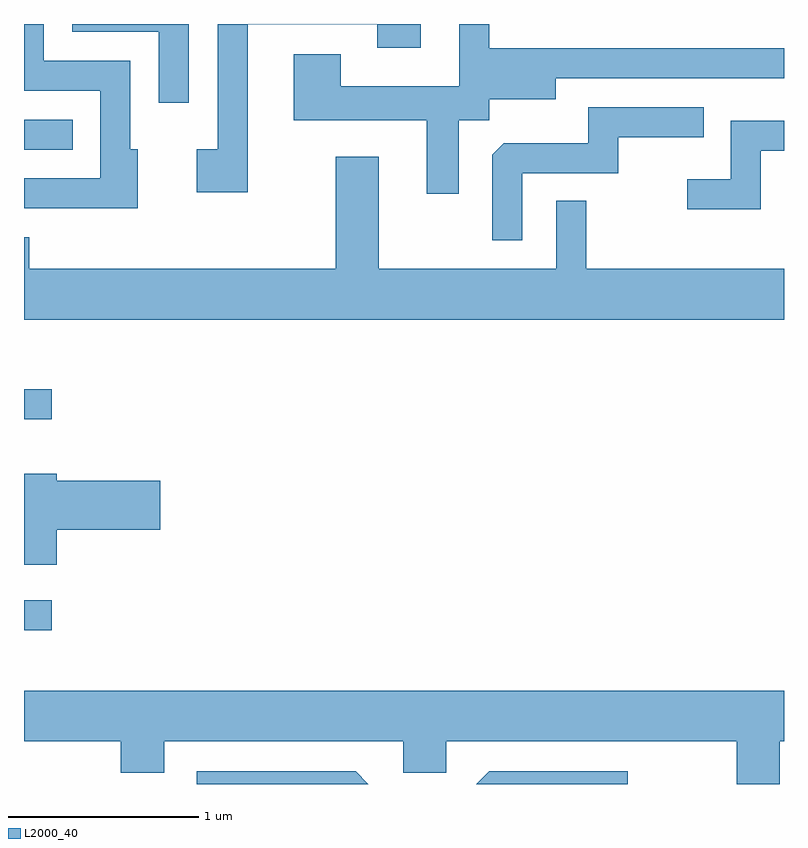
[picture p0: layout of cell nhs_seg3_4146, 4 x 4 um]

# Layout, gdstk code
import gdstk
lib = gdstk.Library(unit=1e-6, precision=1e-09)
def R(c, l, rs):  # rectangles x0, y0, x1, y1
    for r in rs: c.add(gdstk.rectangle(r[:2], r[2:], *l))
def P(c, l, *ps):  # polygons
    for p in ps: c.add(gdstk.Polygon(p, *l))
L2000_40 = (2000, 40)

nhs_seg3_4146 = lib.new_cell('nhs_seg3_4146')
R(nhs_seg3_4146, L2000_40, [(305.611,1248.701,305.758,1248.859), (305.611,1249.811,305.758,1249.969), (305.611,1251.231,305.868,1251.389)])
P(nhs_seg3_4146, L2000_40, [(306.789,1251.891),(307.471,1251.891),(307.471,1251.766),(307.699,1251.766),(307.699,1251.892),(306.631,1251.892),(306.631,1251.234),(306.521,1251.234),(306.521,1251.006),(306.789,1251.006)],
  [(306.479,1251.892),(305.866,1251.892),(305.866,1251.851),(306.321,1251.851),(306.321,1251.478),(306.479,1251.478)],
  [(306.209,1251.234),(306.169,1251.234),(306.169,1251.699),(305.714,1251.699),(305.714,1251.892),(305.611,1251.892),(305.611,1251.541),(306.011,1251.541),(306.011,1251.079),(305.611,1251.079),(305.611,1250.921),(306.209,1250.921)],
  [(307.899,1251.386),(308.059,1251.386),(308.059,1251.496),(308.409,1251.496),(308.409,1251.606),(309.611,1251.606),(309.611,1251.764),(308.059,1251.764),(308.059,1251.892),(307.901,1251.892),(307.901,1251.564),(307.279,1251.564),(307.279,1251.734),(307.031,1251.734),(307.031,1251.386),(307.731,1251.386),(307.731,1250.998),(307.899,1250.998)],
  [(308.234,1251.106),(308.739,1251.106),(308.739,1251.296),(309.188,1251.296),(309.188,1251.454),(308.581,1251.454),(308.581,1251.264),(308.137,1251.264),(308.076,1251.204),(308.076,1250.753),(308.234,1250.753)],
  [(309.489,1251.226),(309.611,1251.226),(309.611,1251.384),(309.331,1251.384),(309.331,1251.074),(309.103,1251.074),(309.103,1250.916),(309.489,1250.916)],
  [(309.611,1250.604),(308.569,1250.604),(308.569,1250.963),(308.411,1250.963),(308.411,1250.604),(307.479,1250.604),(307.479,1251.194),(307.251,1251.194),(307.251,1250.604),(305.639,1250.604),(305.639,1250.769),(305.611,1250.769),(305.611,1250.336),(309.611,1250.336)],
  [(305.784,1249.231),(306.329,1249.231),(306.329,1249.489),(305.784,1249.489),(305.784,1249.524),(305.611,1249.524),(305.611,1249.046),(305.784,1249.046)],
  [(309.589,1248.116),(309.611,1248.116),(309.611,1248.384),(305.611,1248.384),(305.611,1248.116),(306.121,1248.116),(306.121,1247.951),(306.349,1247.951),(306.349,1248.116),(307.606,1248.116),(307.606,1247.951),(307.834,1247.951),(307.834,1248.116),(309.361,1248.116),(309.361,1247.892),(309.589,1247.892)],
  [(308.789,1247.959),(308.059,1247.959),(307.992,1247.892),(308.789,1247.892)],
  [(307.357,1247.959),(306.521,1247.959),(306.521,1247.892),(307.424,1247.892)])

lib.write_gds('nhs_seg3_4146.gds')
